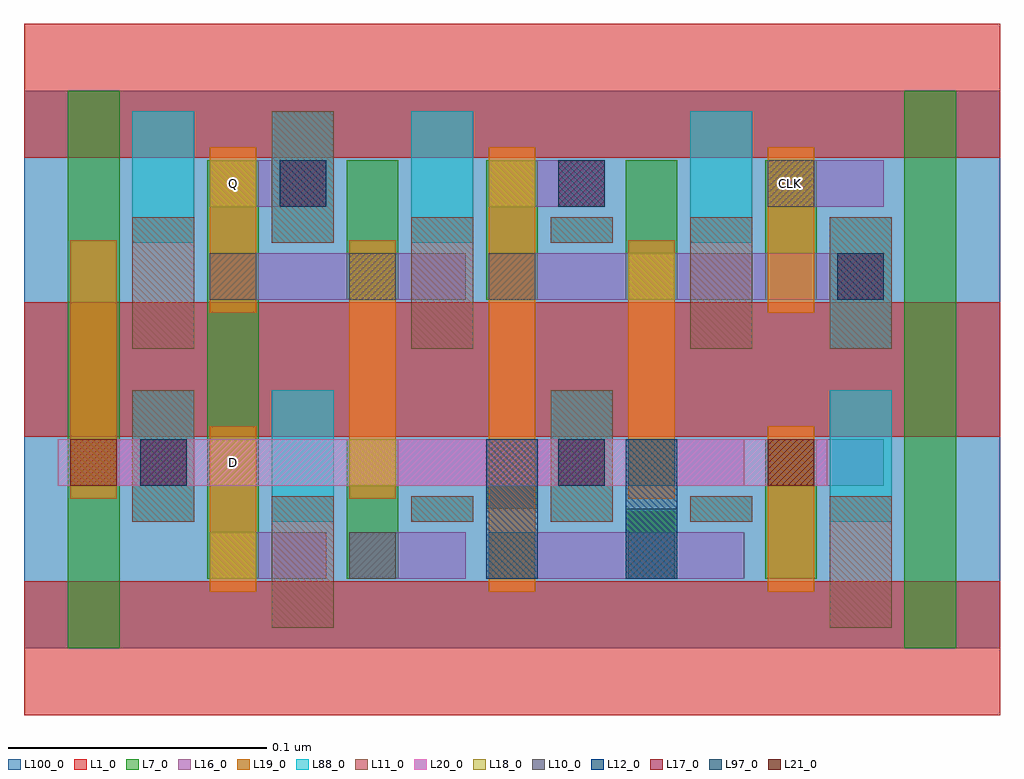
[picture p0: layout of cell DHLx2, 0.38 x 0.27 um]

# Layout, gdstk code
import gdstk
lib = gdstk.Library(unit=1e-6, precision=2.5e-10)
def R(c, l, rs):  # rectangles x0, y0, x1, y1
    for r in rs: c.add(gdstk.rectangle(r[:2], r[2:], *l))
def A(c, l, x, y, w, h, nx, ny, dx, dy):  # array of equal rectangles
    R(c, l, [(x+i*dx, y+j*dy, x+i*dx+w, y+j*dy+h) for i in range(nx) for j in range(ny)])
L1_0 = (1, 0)
L7_0 = (7, 0)
L10_0 = (10, 0)
L11_0 = (11, 0)
L12_0 = (12, 0)
L16_0 = (16, 0)
L17_0 = (17, 0)
L18_0 = (18, 0)
L19_0 = (19, 0)
L20_0 = (20, 0)
L21_0 = (21, 0)
L88_0 = (88, 0)
L97_0 = (97, 0)
L100_0 = (100, 0)

dhlx2 = lib.new_cell('DHLx2')
A(dhlx2, L1_0, 0, -0.026, 0.378, 0.052, 1, 3, 0, 0.108)
A(dhlx2, L7_0, 0.125, 0.135, 0.02, 0.054, 4, 1, 0.054, 0)
R(dhlx2, L7_0, [(0.017,0,0.037,0.108), (0.341,0,0.361,0.108), (0.071,0.027,0.091,0.108), (0.125,0.027,0.145,0.081), (0.233,0.027,0.253,0.054), (0.287,0.027,0.307,0.081), (0.179,0.054,0.199,0.081), (0.017,0.108,0.037,0.216), (0.071,0.108,0.091,0.189), (0.341,0.108,0.361,0.216)])
A(dhlx2, L10_0, 0.126, 0.027, 0.018, 0.018, 3, 1, 0.054, 0)
A(dhlx2, L10_0, 0.072, 0.135, 0.018, 0.018, 3, 1, 0.054, 0)
R(dhlx2, L10_0, [(0.234,0.063,0.252,0.081), (0.288,0.063,0.306,0.081), (0.288,0.171,0.306,0.189)])
A(dhlx2, L11_0, 0.042, 0.116, 0.024, 0.051, 3, 1, 0.108, 0)
R(dhlx2, L11_0, [(0.096,0.008,0.12,0.059), (0.312,0.008,0.336,0.059), (0.042,0.049,0.066,0.1), (0.15,0.049,0.174,0.059), (0.204,0.049,0.228,0.1), (0.258,0.049,0.282,0.059), (0.312,0.116,0.336,0.167), (0.096,0.157,0.12,0.208), (0.204,0.157,0.228,0.167)])
R(dhlx2, L12_0, [(0.179,0.027,0.199,0.081), (0.233,0.027,0.253,0.081)])
A(dhlx2, L16_0, 0.072, 0.171, 0.045, 0.018, 3, 1, 0.108, 0)
R(dhlx2, L16_0, [(0.072,0.027,0.117,0.045), (0.126,0.027,0.171,0.045), (0.18,0.027,0.279,0.045), (0.018,0.063,0.063,0.081), (0.126,0.063,0.225,0.081), (0.234,0.063,0.279,0.081), (0.288,0.063,0.333,0.081), (0.072,0.135,0.171,0.153), (0.18,0.135,0.333,0.153)])
R(dhlx2, L17_0, [(0.045,0.063,0.063,0.081), (0.207,0.063,0.225,0.081), (0.315,0.135,0.333,0.153), (0.099,0.171,0.117,0.189), (0.207,0.171,0.225,0.189)])
A(dhlx2, L18_0, 0.018, 0.063, 0.018, 0.018, 3, 1, 0.108, 0)
A(dhlx2, L18_0, 0.072, 0.171, 0.018, 0.018, 3, 1, 0.108, 0)
R(dhlx2, L18_0, [(0.072,0.027,0.09,0.045), (0.18,0.027,0.198,0.045), (0.288,0.063,0.306,0.081), (0.126,0.135,0.144,0.153), (0.234,0.135,0.252,0.153)])
A(dhlx2, L19_0, 0.018, 0.058, 0.018, 0.1, 3, 1, 0.108, 0)
R(dhlx2, L19_0, [(0.072,0.022,0.09,0.086), (0.18,0.022,0.198,0.194), (0.288,0.022,0.306,0.086), (0.072,0.13,0.09,0.194), (0.288,0.13,0.306,0.194)])
R(dhlx2, L20_0, [(0.013,0.063,0.311,0.081)])
R(dhlx2, L21_0, [(0.018,0.063,0.036,0.081), (0.288,0.063,0.306,0.081)])
A(dhlx2, L88_0, 0.096, 0.049, 0.024, 0.051, 3, 1, 0.108, 0)
A(dhlx2, L88_0, 0.042, 0.157, 0.024, 0.051, 3, 1, 0.054, 0)
R(dhlx2, L88_0, [(0.042,0.049,0.066,0.1), (0.15,0.049,0.174,0.059), (0.258,0.049,0.282,0.059), (0.312,0.116,0.336,0.167), (0.204,0.157,0.228,0.167), (0.258,0.157,0.282,0.208)])
R(dhlx2, L97_0, [(0.045,0.063,0.063,0.081), (0.207,0.063,0.225,0.081), (0.315,0.135,0.333,0.153), (0.099,0.171,0.117,0.189), (0.207,0.171,0.225,0.189)])
R(dhlx2, L100_0, [(0,0,0.378,0.216)])
dhlx2.add(gdstk.Label('CLK', (0.297,0.18), layer=19, texttype=251))
dhlx2.add(gdstk.Label('D', (0.081,0.072), layer=19, texttype=251))
dhlx2.add(gdstk.Label('Q', (0.081,0.18), layer=19, texttype=251))

lib.write_gds('DHLx2.gds')
